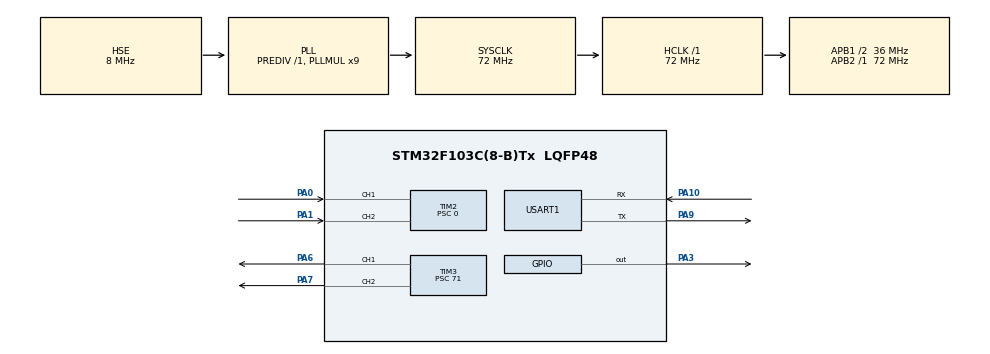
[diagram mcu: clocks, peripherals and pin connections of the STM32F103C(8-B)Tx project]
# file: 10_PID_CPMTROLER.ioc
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Mcu.Family=STM32F1
Mcu.Name=STM32F103C(8-B)Tx
Mcu.Package=LQFP48
NVIC.PriorityGroup=NVIC_PRIORITYGROUP_4
NVIC.TIM1_UP_IRQn=true\:0\:0\:false\:false\:true\:true\:true\:true
NVIC.TIM2_IRQn=true\:0\:0\:false\:false\:true\:true\:true\:true
PA0-WKUP.Signal=S_TIM2_CH1_ETR
PA1.Signal=S_TIM2_CH2
PA10.Mode=Asynchronous
PA10.Signal=USART1_RX
PA13.Mode=Serial_Wire
PA13.Signal=SYS_JTMS-SWDIO
PA14.Mode=Serial_Wire
PA14.Signal=SYS_JTCK-SWCLK
PA3.PinState=GPIO_PIN_SET
PA3.Signal=GPIO_Output
PA6.Signal=S_TIM3_CH1
PA7.Signal=S_TIM3_CH2
PA9.Mode=Asynchronous
PA9.Signal=USART1_TX
PD0-OSC_IN.Mode=HSE-External-Oscillator
PD0-OSC_IN.Signal=RCC_OSC_IN
PD1-OSC_OUT.Mode=HSE-External-Oscillator
PD1-OSC_OUT.Signal=RCC_OSC_OUT
ProjectManager.HeapSize=0x200
ProjectManager.StackSize=0x400
ProjectManager.TargetToolchain=CMake
RCC.AHBFreq_Value=72000000
RCC.APB1CLKDivider=RCC_HCLK_DIV2
RCC.APB1Freq_Value=36000000
RCC.APB1TimFreq_Value=72000000
RCC.APB2Freq_Value=72000000
RCC.APB2TimFreq_Value=72000000
RCC.HCLKFreq_Value=72000000
RCC.PLLMUL=RCC_PLL_MUL9
RCC.PLLSourceVirtual=RCC_PLLSOURCE_HSE
RCC.SYSCLKFreq_VALUE=72000000
RCC.SYSCLKSource=RCC_SYSCLKSOURCE_PLLCLK
RCC.USBFreq_Value=72000000
SH.S_TIM2_CH1_ETR.0=TIM2_CH1,Encoder_Interface
SH.S_TIM2_CH2.0=TIM2_CH2,Encoder_Interface
SH.S_TIM3_CH1.0=TIM3_CH1,PWM Generation1 CH1
SH.S_TIM3_CH2.0=TIM3_CH2,PWM Generation2 CH2
TIM1.Period=99
TIM1.Prescaler=7199
TIM2.ClockDivision=TIM_CLOCKDIVISION_DIV1
TIM2.EncoderMode=TIM_ENCODERMODE_TI12
TIM2.Period=65535
TIM2.Prescaler=0
TIM3.Channel-PWM\ Generation1\ CH1=TIM_CHANNEL_1
TIM3.Channel-PWM\ Generation2\ CH2=TIM_CHANNEL_2
TIM3.Period=999
TIM3.Prescaler=71
USART1.VirtualMode=VM_ASYNC
VP_TIM1_VS_ClockSourceINT.Mode=Internal
VP_TIM3_VS_ClockSourceINT.Mode=Internal
VP_TIM3_VS_ClockSourceITR.Mode=TriggerSource_ITR0
board=custom

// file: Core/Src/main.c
/* USER CODE BEGIN Header */
/**
  ******************************************************************************
  * @file           : main.c
  * @brief          : Main program body
  ******************************************************************************
  * @attention
  *
  * Copyright (c) 2026 STMicroelectronics.
  * All rights reserved.
  *
  * This software is licensed under terms that can be found in the LICENSE file
  * in the root directory of this software component.
  * If no LICENSE file comes with this software, it is provided AS-IS.
  *
  ******************************************************************************
  */
/* USER CODE END Header */
#include "main.h"

/* USER CODE BEGIN Includes */
#include <stdio.h>
#include <math.h>
/* USER CODE END Includes */

/* USER CODE BEGIN PTD */
typedef struct {
  float Kp, Ki, Kd;
  float e_last; //上次误差
  float integral; //累加积分
  float out_max; //输出限幅
  float i_max; //积分限幅
} PID_USE;

typedef enum {
  WAVE_STEP = 0,//阶跃
  WAVE_SINE_FIX,
  WAVE_SINE_SWEEP
} WAVE_MODE;
/* USER CODE END PTD */

/* USER CODE BEGIN PD */
#define PWM_DEAD 500 //死区：CCR 低于此值电机不转（输出上限由 PID.out_max 决定）
#define PPR 1320.0f  //输出轴一圈的脉冲数（x4 倍频后）
#define CTRL_PERIOD 0.010f //控制周期 10 ms
#define WAVE_TICKS 6000    //波形循环一轮的节拍数（60 s）
#define TWO_PI 6.2831853f
/* USER CODE END PD */

TIM_HandleTypeDef htim1;
TIM_HandleTypeDef htim2;
TIM_HandleTypeDef htim3;

UART_HandleTypeDef huart1;

/* USER CODE BEGIN PV */
static PID_USE PID = {
  .Kp = 0.5f, .Ki = 0.03f, .Kd = 0.00f,
  .e_last = 0.0f, .integral = 0.0f,
  .out_max = 450.0f, .i_max = 3000.0f,
};

static int16_t g_last_cnt = 0; //上次编码器计数
static uint32_t g_tick = 0; //控制节拍计数（波形时间 = g_tick * CTRL_PERIOD）
static float g_phase = 0.0f; //变频正弦的相位累加
static WAVE_MODE g_mode = WAVE_SINE_SWEEP;//WAVE_STEP / WAVE_SINE_FIX / WAVE_SINE_SWEEP
static volatile int32_t g_target = 0; //目标速度 RPM
static volatile float g_speed = 0.0f; //实际速度 RPM
static volatile uint8_t g_new_sample = 0; //中断置 1
/* USER CODE END PV */

void SystemClock_Config(void);
static void MX_GPIO_Init(void);
static void MX_TIM1_Init(void);
static void MX_TIM2_Init(void);
static void MX_TIM3_Init(void);
static void MX_USART1_UART_Init(void);
/* USER CODE BEGIN PFP */
float PID_Calculate(PID_USE *p, float tar, float now);
int32_t TARGET_Control(void);
void MOTOR_Control(int16_t u);
void BUFFER_Send(void);
/* USER CODE END PFP */

int main(void)
{

  /* MCU Configuration--------------------------------------------------------*/

  /* Reset of all peripherals, Initializes the Flash interface and the Systick. */
  HAL_Init();

  /* Configure the system clock */
  SystemClock_Config();

  /* Initialize all configured peripherals */
  MX_GPIO_Init();
  MX_TIM1_Init();
  MX_TIM2_Init();
  MX_TIM3_Init();
  MX_USART1_UART_Init();
  /* USER CODE BEGIN 2 */
  HAL_TIM_Encoder_Start(&htim2, TIM_CHANNEL_ALL);
  HAL_TIM_PWM_Start(&htim3, TIM_CHANNEL_1);
  HAL_TIM_PWM_Start(&htim3, TIM_CHANNEL_2);
  g_last_cnt = (int16_t)__HAL_TIM_GET_COUNTER(&htim2);
  HAL_TIM_Base_Start_IT(&htim1);   /* 最后再开控制中断 */
  /* USER CODE END 2 */

  /* Infinite loop */
  while (1)
  {

    /* USER CODE BEGIN 3 */
    if (g_new_sample)
    {
      BUFFER_Send(); //每个控制周期发一帧给 VOFA
    }
  }
  /* USER CODE END 3 */
}

void SystemClock_Config(void)
{
  RCC_OscInitTypeDef RCC_OscInitStruct = {0};
  RCC_ClkInitTypeDef RCC_ClkInitStruct = {0};

  /** Initializes the RCC Oscillators according to the specified parameters
  * in the RCC_OscInitTypeDef structure.
  */
  RCC_OscInitStruct.OscillatorType = RCC_OSCILLATORTYPE_HSE;
  RCC_OscInitStruct.HSEState = RCC_HSE_ON;
  RCC_OscInitStruct.HSEPredivValue = RCC_HSE_PREDIV_DIV1;
  RCC_OscInitStruct.HSIState = RCC_HSI_ON;
  RCC_OscInitStruct.PLL.PLLState = RCC_PLL_ON;
  RCC_OscInitStruct.PLL.PLLSource = RCC_PLLSOURCE_HSE;
  RCC_OscInitStruct.PLL.PLLMUL = RCC_PLL_MUL9;
  if (HAL_RCC_OscConfig(&RCC_OscInitStruct) != HAL_OK)
  {
    Error_Handler();
  }

  /** Initializes the CPU, AHB and APB buses clocks
  */
  RCC_ClkInitStruct.ClockType = RCC_CLOCKTYPE_HCLK|RCC_CLOCKTYPE_SYSCLK
                              |RCC_CLOCKTYPE_PCLK1|RCC_CLOCKTYPE_PCLK2;
  RCC_ClkInitStruct.SYSCLKSource = RCC_SYSCLKSOURCE_PLLCLK;
  RCC_ClkInitStruct.AHBCLKDivider = RCC_SYSCLK_DIV1;
  RCC_ClkInitStruct.APB1CLKDivider = RCC_HCLK_DIV2;
  RCC_ClkInitStruct.APB2CLKDivider = RCC_HCLK_DIV1;

  if (HAL_RCC_ClockConfig(&RCC_ClkInitStruct, FLASH_LATENCY_2) != HAL_OK)
  {
    Error_Handler();
  }
}

static void MX_TIM1_Init(void)
{

  TIM_ClockConfigTypeDef sClockSourceConfig = {0};
  TIM_MasterConfigTypeDef sMasterConfig = {0};

  htim1.Instance = TIM1;
  htim1.Init.Prescaler = 7199;
  htim1.Init.CounterMode = TIM_COUNTERMODE_UP;
  htim1.Init.Period = 99;
  htim1.Init.ClockDivision = TIM_CLOCKDIVISION_DIV1;
  htim1.Init.RepetitionCounter = 0;
  htim1.Init.AutoReloadPreload = TIM_AUTORELOAD_PRELOAD_DISABLE;
  if (HAL_TIM_Base_Init(&htim1) != HAL_OK)
  {
    Error_Handler();
  }
  sClockSourceConfig.ClockSource = TIM_CLOCKSOURCE_INTERNAL;
  if (HAL_TIM_ConfigClockSource(&htim1, &sClockSourceConfig) != HAL_OK)
  {
    Error_Handler();
  }
  sMasterConfig.MasterOutputTrigger = TIM_TRGO_RESET;
  sMasterConfig.MasterSlaveMode = TIM_MASTERSLAVEMODE_DISABLE;
  if (HAL_TIMEx_MasterConfigSynchronization(&htim1, &sMasterConfig) != HAL_OK)
  {
    Error_Handler();
  }

}

static void MX_TIM2_Init(void)
{

  TIM_Encoder_InitTypeDef sConfig = {0};
  TIM_MasterConfigTypeDef sMasterConfig = {0};

  htim2.Instance = TIM2;
  htim2.Init.Prescaler = 0;
  htim2.Init.CounterMode = TIM_COUNTERMODE_UP;
  htim2.Init.Period = 65535;
  htim2.Init.ClockDivision = TIM_CLOCKDIVISION_DIV1;
  htim2.Init.AutoReloadPreload = TIM_AUTORELOAD_PRELOAD_DISABLE;
  sConfig.EncoderMode = TIM_ENCODERMODE_TI12;
  sConfig.IC1Polarity = TIM_ICPOLARITY_RISING;
  sConfig.IC1Selection = TIM_ICSELECTION_DIRECTTI;
  sConfig.IC1Prescaler = TIM_ICPSC_DIV1;
  sConfig.IC1Filter = 0;
  sConfig.IC2Polarity = TIM_ICPOLARITY_RISING;
  sConfig.IC2Selection = TIM_ICSELECTION_DIRECTTI;
  sConfig.IC2Prescaler = TIM_ICPSC_DIV1;
  sConfig.IC2Filter = 0;
  if (HAL_TIM_Encoder_Init(&htim2, &sConfig) != HAL_OK)
  {
    Error_Handler();
  }
  sMasterConfig.MasterOutputTrigger = TIM_TRGO_RESET;
  sMasterConfig.MasterSlaveMode = TIM_MASTERSLAVEMODE_DISABLE;
  if (HAL_TIMEx_MasterConfigSynchronization(&htim2, &sMasterConfig) != HAL_OK)
  {
    Error_Handler();
  }

}

static void MX_TIM3_Init(void)
{

  TIM_ClockConfigTypeDef sClockSourceConfig = {0};
  TIM_SlaveConfigTypeDef sSlaveConfig = {0};
  TIM_MasterConfigTypeDef sMasterConfig = {0};
  TIM_OC_InitTypeDef sConfigOC = {0};

  htim3.Instance = TIM3;
  htim3.Init.Prescaler = 71;
  htim3.Init.CounterMode = TIM_COUNTERMODE_UP;
  htim3.Init.Period = 999;
  htim3.Init.ClockDivision = TIM_CLOCKDIVISION_DIV1;
  htim3.Init.AutoReloadPreload = TIM_AUTORELOAD_PRELOAD_DISABLE;
  if (HAL_TIM_Base_Init(&htim3) != HAL_OK)
  {
    Error_Handler();
  }
  sClockSourceConfig.ClockSource = TIM_CLOCKSOURCE_INTERNAL;
  if (HAL_TIM_ConfigClockSource(&htim3, &sClockSourceConfig) != HAL_OK)
  {
    Error_Handler();
  }
  if (HAL_TIM_PWM_Init(&htim3) != HAL_OK)
  {
    Error_Handler();
  }
  sSlaveConfig.SlaveMode = TIM_SLAVEMODE_DISABLE;
  sSlaveConfig.InputTrigger = TIM_TS_ITR0;
  if (HAL_TIM_SlaveConfigSynchro(&htim3, &sSlaveConfig) != HAL_OK)
  {
    Error_Handler();
  }
  sMasterConfig.MasterOutputTrigger = TIM_TRGO_RESET;
  sMasterConfig.MasterSlaveMode = TIM_MASTERSLAVEMODE_DISABLE;
  if (HAL_TIMEx_MasterConfigSynchronization(&htim3, &sMasterConfig) != HAL_OK)
  {
    Error_Handler();
  }
  sConfigOC.OCMode = TIM_OCMODE_PWM1;
  sConfigOC.Pulse = 0;
  sConfigOC.OCPolarity = TIM_OCPOLARITY_HIGH;
  sConfigOC.OCFastMode = TIM_OCFAST_DISABLE;
  if (HAL_TIM_PWM_ConfigChannel(&htim3, &sConfigOC, TIM_CHANNEL_1) != HAL_OK)
  {
    Error_Handler();
  }
  if (HAL_TIM_PWM_ConfigChannel(&htim3, &sConfigOC, TIM_CHANNEL_2) != HAL_OK)
  {
    Error_Handler();
  }
  HAL_TIM_MspPostInit(&htim3);

}

static void MX_USART1_UART_Init(void)
{

  huart1.Instance = USART1;
  huart1.Init.BaudRate = 115200;
  huart1.Init.WordLength = UART_WORDLENGTH_8B;
  huart1.Init.StopBits = UART_STOPBITS_1;
  huart1.Init.Parity = UART_PARITY_NONE;
  huart1.Init.Mode = UART_MODE_TX_RX;
  huart1.Init.HwFlowCtl = UART_HWCONTROL_NONE;
  huart1.Init.OverSampling = UART_OVERSAMPLING_16;
  if (HAL_UART_Init(&huart1) != HAL_OK)
  {
    Error_Handler();
  }

}

static void MX_GPIO_Init(void)
{
  GPIO_InitTypeDef GPIO_InitStruct = {0};

  /* GPIO Ports Clock Enable */
  __HAL_RCC_GPIOD_CLK_ENABLE();
  __HAL_RCC_GPIOA_CLK_ENABLE();

  /*Configure GPIO pin Output Level */
  HAL_GPIO_WritePin(GPIOA, GPIO_PIN_3, GPIO_PIN_SET);

  /*Configure GPIO pin : PA3 */
  GPIO_InitStruct.Pin = GPIO_PIN_3;
  GPIO_InitStruct.Mode = GPIO_MODE_OUTPUT_PP;
  GPIO_InitStruct.Pull = GPIO_NOPULL;
  GPIO_InitStruct.Speed = GPIO_SPEED_FREQ_LOW;
  HAL_GPIO_Init(GPIOA, &GPIO_InitStruct);

}

/* USER CODE BEGIN 4 */
float PID_Calculate(PID_USE *p, float tar, float now) //PID算法
{
  float error = tar - now;
  float d_error = error - p->e_last;

  p->integral += error;
  if (p->integral >  p->i_max) p->integral =  p->i_max;
  if (p->integral < -p->i_max) p->integral = -p->i_max;

  float output = p->Kp * error + p->Ki * p->integral + p->Kd * d_error; //WHAT CAN I SAY

  p->e_last = error;

  if (output >  p->out_max) output =  p->out_max; //限幅
  if (output < -p->out_max) output = -p->out_max;
  return output;
}

void MOTOR_Control(int16_t u)
{
  /* u 已被 PID.out_max 限幅；两个通道每次都要写，否则 H 桥会同时有效（刹车） */
  int32_t ccr = PWM_DEAD + (u >= 0 ? u : -u);

  if (u > 0)
  {
    __HAL_TIM_SET_COMPARE(&htim3, TIM_CHANNEL_1, ccr);
    __HAL_TIM_SET_COMPARE(&htim3, TIM_CHANNEL_2, 0);
  }
  else if (u < 0)
  {
    __HAL_TIM_SET_COMPARE(&htim3, TIM_CHANNEL_1, 0);
    __HAL_TIM_SET_COMPARE(&htim3, TIM_CHANNEL_2, ccr);
  }
  else
  {
    __HAL_TIM_SET_COMPARE(&htim3, TIM_CHANNEL_1, 0);
    __HAL_TIM_SET_COMPARE(&htim3, TIM_CHANNEL_2, 0);
  }
}

/* 按当前 g_mode 和 g_tick 生成目标速度（RPM），每个控制周期调用一次 */
int32_t TARGET_Control(void)
{
  float t = g_tick * CTRL_PERIOD;  //g_tick,脉冲；另一个是周期
  float v;

  switch (g_mode)
  {
    case WAVE_STEP:
      {
        int32_t tick = g_tick % 1600;
        float s = tick * CTRL_PERIOD;

        if (s <  4.0f) v = 100.0f;
        else if (s <  8.0f) v = 200.0f;
        else if (s < 12.0f) v = 300.0f;
        else                v = 100.0f;
        break;
      }

    case WAVE_SINE_FIX:   /* 固定正弦：0.5 Hz、幅度 50、中心 200 */
      {
        v = 200.0f + 50.0f * sinf(TWO_PI * 0.5f * t);  //50sin(2pi 0.5 t)
        break;
      }

    case WAVE_SINE_SWEEP:
      {
        int32_t p_tick = g_tick % 1200;
        float p = (float)p_tick / 1200.0f;
        float f = 0.2f + 2.4f * p;
        float a = 30.0f + 50.0f * p;
        g_phase += TWO_PI * f * CTRL_PERIOD; //防止偏移，正常写会变成sin的叠加
        if (g_phase > TWO_PI)
        {
          g_phase -= TWO_PI;
        }
        v = 200.0f + a * sinf(g_phase);
        break;
      }

    default:
      {
        v = 200.0f;
        break;
      }
  }

  if (v < 0.0f) v = 0.0f;
  return (int32_t)v;
}

void BUFFER_Send(void)
{
  printf("%d,%d\n", (int)g_target, (int)g_speed);
  g_new_sample = 0;
}

/* printf 重定向：printf 最终会调用 _write 把字符送出去 */
int _write(int fd, char *ptr, int len)
{
  (void)fd;
  HAL_UART_Transmit(&huart1, (uint8_t *)ptr, len, 0xFFFF);
  return len;
}

void HAL_TIM_PeriodElapsedCallback(TIM_HandleTypeDef *htim)
{
  if (htim->Instance != TIM1) return;

  //需要进行位置环
  //读取编码器，计算位置误差，位置环函数包含了双环的逻辑代码
  //把误差传入电机

  float target_pos = (float)
}
/* USER CODE END 4 */

void Error_Handler(void)
{
  __disable_irq();
  while (1)
  {
  }
}
